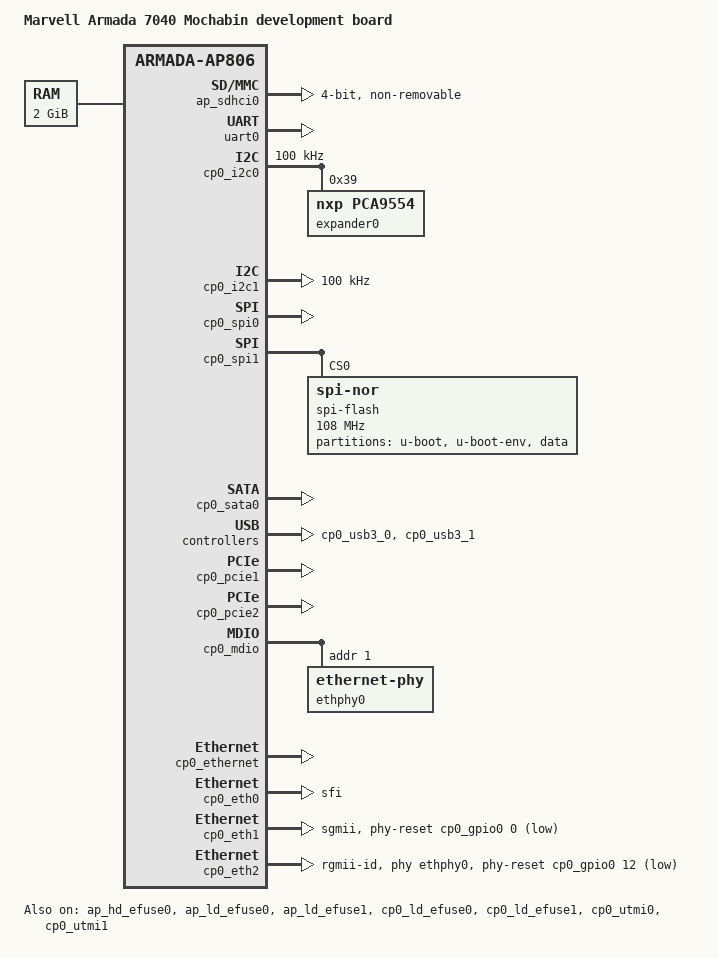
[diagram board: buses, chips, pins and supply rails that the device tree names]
/*
 * Copyright (C) 2016 Marvell Technology Group Ltd.
 *
 * This file is dual-licensed: you can use it either under the terms
 * of the GPLv2 or the X11 license, at your option. Note that this dual
 * licensing only applies to this file, and not this project as a
 * whole.
 *
 *  a) This library is free software; you can redistribute it and/or
 *     modify it under the terms of the GNU General Public License as
 *     published by the Free Software Foundation; either version 2 of the
 *     License, or (at your option) any later version.
 *
 *     This library is distributed in the hope that it will be useful,
 *     but WITHOUT ANY WARRANTY; without even the implied warranty of
 *     MERCHANTABILITY or FITNESS FOR A PARTICULAR PURPOSE.  See the
 *     GNU General Public License for more details.
 *
 * Or, alternatively,
 *
 *  b) Permission is hereby granted, free of charge, to any person
 *     obtaining a copy of this software and associated documentation
 *     files (the "Software"), to deal in the Software without
 *     restriction, including without limitation the rights to use,
 *     copy, modify, merge, publish, distribute, sublicense, and/or
 *     sell copies of the Software, and to permit persons to whom the
 *     Software is furnished to do so, subject to the following
 *     conditions:
 *
 *     The above copyright notice and this permission notice shall be
 *     included in all copies or substantial portions of the Software.
 *
 *     THE SOFTWARE IS PROVIDED "AS IS", WITHOUT WARRANTY OF ANY KIND,
 *     EXPRESS OR IMPLIED, INCLUDING BUT NOT LIMITED TO THE WARRANTIES
 *     OF MERCHANTABILITY, FITNESS FOR A PARTICULAR PURPOSE AND
 *     NONINFRINGEMENT. IN NO EVENT SHALL THE AUTHORS OR COPYRIGHT
 *     HOLDERS BE LIABLE FOR ANY CLAIM, DAMAGES OR OTHER LIABILITY,
 *     WHETHER IN AN ACTION OF CONTRACT, TORT OR OTHERWISE, ARISING
 *     FROM, OUT OF OR IN CONNECTION WITH THE SOFTWARE OR THE USE OR
 *     OTHER DEALINGS IN THE SOFTWARE.
 */

#include "armada-70x0.dtsi"

#define CP110_NUM				0
#define SPI_DIRECT_BASE				(0xf9000000)

/ {
	model = "Marvell Armada 7040 Mochabin development board";
	compatible = "marvell,armada7040-mochabin", "marvell,armada7040",
				 "marvell,armada-ap806-quad", "marvell,armada-ap806";

	chosen {
		stdout-path = "serial0:115200n8";
	};

	aliases {
		i2c0 = &cp0_i2c0;
		i2c1 = &cp0_i2c1;
		spi0 = &cp0_spi1;
		spi1 = &cp0_spi0;
		fuse0 = &ap_hd_efuse0;
		fuse1 = &ap_ld_efuse0;
		fuse2 = &ap_ld_efuse1;
		fuse3 = &cp0_ld_efuse0;
		fuse4 = &cp0_ld_efuse1;
		gpio0 = &ap_gpio0;
		gpio1 = &cp0_gpio0;
		gpio2 = &cp0_gpio1;
	};

	memory@00000000 {
		device_type = "memory";
		reg = <0x0 0x0 0x0 0x80000000>;
	};

	cp0 {
		config-space {
			ranges = <0x0 U64_TO_U32_H(CP110_BASE)
					  U64_TO_U32_L(CP110_BASE) 0x2000000>,	/* internal regs */
					 <0x2000000 U64_TO_U32_H(SPI_DIRECT_BASE)
					 U64_TO_U32_L(SPI_DIRECT_BASE) 0x1000000>;	/* SPI1-DEV0 */
		};
	};
};

&ap_pinctl {
	   /* MPP Bus:
	    * EMMC  [0-5]
	    * UART0 [11,19]
	    */
			  /* 0 1 2 3 4 5 6 7 8 9 */
	pin-func = < 1 1 1 1 1 1 0 0 0 0
				 0 3 0 0 0 0 0 0 0 3 >;
};

/* eMMC */
&ap_sdhci0 {
	status = "okay";
	bus-width = <4>;
	no-1-8-v;
	non-removable;
};

/* for debug-uart console */
&uart0 {
	status = "okay";
};

&ap_hd_efuse0 {
	status = "okay";
};

&ap_ld_efuse0 {
	status = "okay";
};

&ap_ld_efuse1 {
	status = "okay";
};

&cp0_pinctl {
		/* MPP Bus:
		 * E6341_RSTn        [0]
		 * E6341_INT         [1]
		 * I2C1              [2,3]
		 * PCIE1_CLKREQn     [5]
		 * UART0             [6,7]
		 * PCIE1_WAKEn       [8]
		 * PCIE_RSTOUTn      [9]  (GPIO)
		 * PCIE2_WAKEn       [10]
		 * PHY0_RSTn         [12] (88e1512-rst)
		 * SPI1              [13-16]
		 * PHY0_INT          [24] (88e1512-int)
		 * 9554_INT          [27] (ioexp-int)
		 * PCIE2_CLKREQn     [28]
		 * IS_CLK_VBM        [29] (is31fl3199-clk-vbm)
		 * IS_SDB            [30] (is31fl3199-sdb)
		 * MKR_PWM           [31] (mikroBus-pwm)
		 * MKR_INT           [32] (mikroBus-int)
		 * MKR_RST           [33] (mikroBus-rst)
		 * DEVSLP            [34] (m.2-sata-devslp)
		 * SMI               [35,36]
		 * I2C0              [37,38]
		 * RGMII2            [44-55]
		 * SPI0              [56-59]
		 * GPIO              [4,11,17-23,25-26]
		 */
			/*   0   1   2   3   4   5   6   7   8   9 */
	pin-func = < 0   0   7   7   0   7   8   8   0   0
				 0   0   0   3   3   3   3   0   0   0
				 0   0   0   0   0   0   0   0   6   0
				 0   0   0   0   0   8   8   2   2   0
				 0   0   0   0   1   1   1   1   1   1
				 1   1   1   1   1   1   6   6   6   6
				 0   0   0 >;

	cp0_i2c1_pins: cp0-i2c-pins-1 {
		marvell,pins = < 2 3 >;
		marvell,function = <7>;
	};

	cp0_spi0_pins: cp0-spi-pins-0 {
		marvell,pins = < 56 57 58 59 >;
		marvell,function = <6>;
	};

	cp0_spi1_pins: cp0-spi-pins-1 {
		marvell,pins = < 13 14 15 16 >;
		marvell,function = <3>;
	};

	cp0_smi_pins: cp0-smi-pins {
		marvell,pins = < 35 36 >;
		marvell,function = <8>;
	};
};

/* for mikroBUS, SFP, pca9554-io-exp */
&cp0_i2c0 {
	pinctrl-names = "default";
	pinctrl-0 = <&cp0_i2c0_pins>;
	status = "okay";
	clock-frequency = <100000>;

	/*
	 * PCA9554 GPIO expander
	 *  0-SFP+_TX_FAULT
	 *  1-SFP+_TX_DISABLE
	 *  2-SFP+_PRSNT
	 *  3-SFP+_LOSS
	 *  4-SFP_TX_FAULT
	 *  5-SFP_TX_DISABLE
	 *  6-SFP_PRSNT
	 *  7-SFP_LOSS
	 */
	expander0: pca953x@39 {
		compatible = "nxp,pca9554";
		#gpio-cells = <2>;
		reg = <0x39>;
		status = "okay";
	};
};

/* for IS31FL3199, mini-PCIe, SFP+ */
&cp0_i2c1 {
	pinctrl-names = "default";
	pinctrl-0 = <&cp0_i2c1_pins>;
	status = "okay";
	clock-frequency = <100000>;
};

/* for mikroBUS */
&cp0_spi0 {
	pinctrl-names = "default";
	pinctrl-0 = <&cp0_spi0_pins>;
	status = "okay";
};

/* for SPI Flash */
&cp0_spi1 {
	pinctrl-names = "default";
	pinctrl-0 = <&cp0_spi1_pins>;
	reg = <0x700680 0x50>,			/* control */
	      <0x2000000 0x1000000>,	/* CS0 */
	      <0 0xffffffff>,			/* CS1 */
	      <0 0xffffffff>,			/* CS2 */
	      <0 0xffffffff>;			/* CS3 */
	status = "okay";

	spi-flash@0 {
		#address-cells = <0x1>;
		#size-cells = <0x1>;
		compatible = "jedec,spi-nor", "spi-flash";
		reg = <0x0>;
		spi-max-frequency = <108000000>;

		partitions {
			compatible = "fixed-partitions";
			#address-cells = <1>;
			#size-cells = <1>;

			partition@0 {
				label = "u-boot";
				reg = <0x0 0x3F0000>;
			};
			partition@3F0000 {
				label = "u-boot-env";
				reg = <0x3F0000 0x10000>;
			};
			partition@400000 {
				label = "data";
				reg = <0x400000 0xC00000>;
			};
		};
	};
};

&cp0_ld_efuse0 {
	status = "okay";
};

&cp0_ld_efuse1 {
	status = "okay";
};

&cp0_comphy {
	phy0 {
		phy-type = <COMPHY_TYPE_SGMII1>;
		phy-speed = <COMPHY_SPEED_3_125G>;
	};

	phy1 {
		phy-type = <COMPHY_TYPE_USB3_HOST0>;
	};

	phy2 {
		phy-type = <COMPHY_TYPE_SFI0>;
		phy-speed = <COMPHY_SPEED_10_3125G>;
	};

	phy3 {
		phy-type = <COMPHY_TYPE_SATA1>;
	};

	phy4 {
		phy-type = <COMPHY_TYPE_PEX1>;
	};

	phy5 {
		phy-type = <COMPHY_TYPE_PEX2>;
	};
};

/* m.2 sata */
&cp0_sata0 {
	status = "okay";
};

/* for USB3 HUB */
&cp0_usb3_0 {
	status = "okay";
};

&cp0_usb3_1 {
	status = "okay";
};

&cp0_utmi0 {
	status = "okay";
};

/* connect to mini-pcie#1(J5) */
&cp0_utmi1 {
	status = "okay";
};

/* mini-pcie#1 (J5) */
&cp0_pcie1 {
	status = "okay";
	marvell,reset-gpio = <&cp0_gpio0 9 GPIO_ACTIVE_HIGH>;
};

/* PCIex1 (J24) */
&cp0_pcie2 {
	status = "okay";
};

&cp0_mdio {
	pinctrl-names = "default";
	pinctrl-0 = <&cp0_smi_pins>;
	status = "okay";

	/* for 88e1512 phy */
	ethphy0: ethernet-phy@0 {
		reg = <1>;
	};
};

&cp0_ethernet {
	status = "okay";
};

/* for 10G SFP+ : SerDes#2 */
&cp0_eth0 {
	status = "okay";
	phy-mode = "sfi";
	marvell,sfp-tx-disable-gpio = <&expander0 1 GPIO_ACTIVE_HIGH>;
};

/* for Topaz 88e6341 : SerDes#0 */
&cp0_eth1 {
	status = "okay";
	phy-mode = "sgmii";
	phy-speed = <2500>;
	phy-reset-gpios = <&cp0_gpio0 0 GPIO_ACTIVE_HIGH>;
};

/* for 88e1512 phy (RJ45 + SFP) : RGMII#2 */
&cp0_eth2 {
	pinctrl-names = "default";
	pinctrl-0 = <&cp0_ge2_rgmii_pins>;
	status = "okay";
	phy-mode = "rgmii-id";
	phy = <&ethphy0>;
	marvell,sfp-tx-disable-gpio = <&expander0 5 GPIO_ACTIVE_HIGH>;
	phy-reset-gpios = <&cp0_gpio0 12 GPIO_ACTIVE_HIGH>;
};
